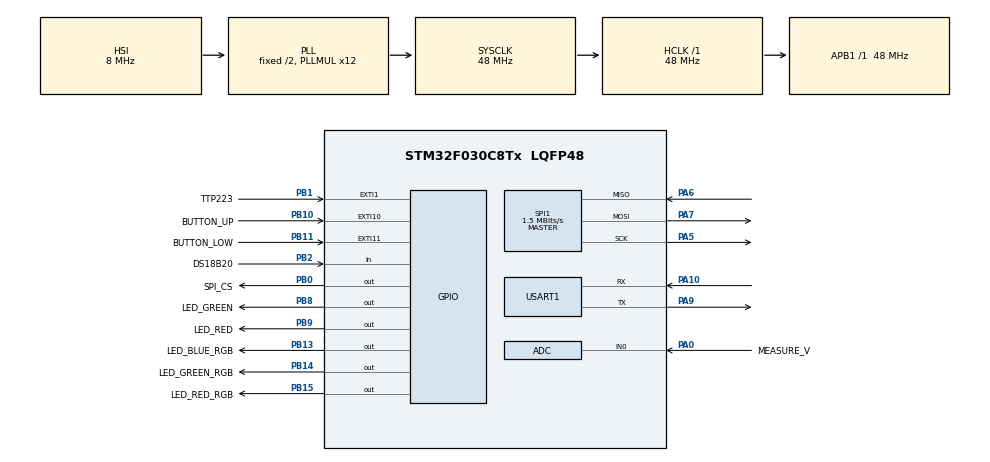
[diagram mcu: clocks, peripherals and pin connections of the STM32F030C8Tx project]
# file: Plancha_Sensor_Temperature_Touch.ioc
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ADC.ContinuousConvMode=DISABLE
Mcu.Family=STM32F0
Mcu.Name=STM32F030C8Tx
Mcu.Package=LQFP48
NVIC.EXTI0_1_IRQn=true\:0\:0\:false\:false\:true\:true\:true\:true
NVIC.EXTI4_15_IRQn=true\:0\:0\:false\:false\:true\:true\:true\:true
NVIC.TIM6_IRQn=true\:0\:0\:false\:false\:true\:true\:true\:true
NVIC.USART1_IRQn=true\:0\:0\:false\:false\:true\:true\:true\:true
PA0.GPIO_Label=MEASURE_V
PA0.Mode=IN0
PA0.Signal=ADC_IN0
PA10.Mode=Asynchronous
PA10.Signal=USART1_RX
PA5.Mode=Full_Duplex_Master
PA5.Signal=SPI1_SCK
PA6.Mode=Full_Duplex_Master
PA6.Signal=SPI1_MISO
PA7.Mode=Full_Duplex_Master
PA7.Signal=SPI1_MOSI
PA9.Mode=Asynchronous
PA9.Signal=USART1_TX
PB0.GPIO_Label=SPI_CS
PB0.GPIO_PuPd=GPIO_NOPULL
PB0.Signal=GPIO_Output
PB1.GPIO_Label=TTP223
PB1.Signal=GPXTI1
PB10.GPIO_Label=BUTTON_UP
PB10.Signal=GPXTI10
PB11.GPIO_Label=BUTTON_LOW
PB11.Signal=GPXTI11
PB13.GPIO_Label=LED_BLUE_RGB
PB13.Signal=GPIO_Output
PB14.GPIO_Label=LED_GREEN_RGB
PB14.Signal=GPIO_Output
PB15.GPIO_Label=LED_RED_RGB
PB15.Signal=GPIO_Output
PB2.GPIO_Label=DS18B20
PB2.Signal=GPIO_Input
PB8.GPIO_Label=LED_GREEN
PB8.Signal=GPIO_Output
PB9.GPIO_Label=LED_RED
PB9.Signal=GPIO_Output
ProjectManager.HeapSize=0x200
ProjectManager.StackSize=0x400
ProjectManager.TargetToolchain=STM32CubeIDE
RCC.AHBFreq_Value=48000000
RCC.APB1Freq_Value=48000000
RCC.APB1TimFreq_Value=48000000
RCC.HCLKFreq_Value=48000000
RCC.PLLMUL=RCC_PLL_MUL12
RCC.SYSCLKFreq_VALUE=48000000
RCC.SYSCLKSource=RCC_SYSCLKSOURCE_PLLCLK
SPI1.BaudRatePrescaler=SPI_BAUDRATEPRESCALER_32
SPI1.CalculateBaudRate=1.5 MBits/s
SPI1.DataSize=SPI_DATASIZE_8BIT
SPI1.Direction=SPI_DIRECTION_2LINES
SPI1.Mode=SPI_MODE_MASTER
SPI1.VirtualType=VM_MASTER
TIM6.AutoReloadPreload=TIM_AUTORELOAD_PRELOAD_ENABLE
TIM6.Period=65535-1
TIM6.Prescaler=48-1
USART1.VirtualMode-Asynchronous=VM_ASYNC
VP_TIM6_VS_ClockSourceINT.Mode=Enable_Timer
board=custom

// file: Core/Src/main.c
/* USER CODE BEGIN Header */
/**
  ******************************************************************************
  * @file           : main.c
  * @brief          : Main program body
  ******************************************************************************
  * @attention
  *
  * Copyright (c) 2022 STMicroelectronics.
  * All rights reserved.
  *
  * This software is licensed under terms that can be found in the LICENSE file
  * in the root directory of this software component.
  * If no LICENSE file comes with this software, it is provided AS-IS.
  *
  ******************************************************************************
  */
/* USER CODE END Header */
#include "main.h"

/* USER CODE BEGIN Includes */
#include <string.h>
#include <stdio.h>

/* USER CODE END Includes */

ADC_HandleTypeDef hadc;

SPI_HandleTypeDef hspi1;

TIM_HandleTypeDef htim6;

UART_HandleTypeDef huart1;

/* USER CODE BEGIN PV */

/****************************************************PROTOTIPADO VARIABLES*********************************************************/

/****************************************Prototipado de banderas de botones*****************************/
uint8_t ban_button_up;
uint8_t ban_button_low;
uint8_t ban_button_TS;

/***********************************Prototipado variables del temperature sensor*************************/
uint8_t Rx_data_lim[lenght_Rx];
uint8_t Presence;
uint8_t Temp_byte1;
uint8_t Temp_byte2;
float temp_dec;

/****************************************Prototipado variables del UART******************************/
uint8_t Rx_data[lenght_Rx];
uint8_t Rx_data_color[lenght_Rx];
uint8_t ban_recibido_msj;
uint8_t ban_mismo_msj;

uint8_t transmit_lenght;
uint8_t transmit_text[200];

uint32_t li_red;
uint32_t li_blue;
uint32_t li_green;
uint32_t ls_red;
uint32_t ls_blue;
uint32_t ls_green;

uint8_t pos_in;
uint8_t pos_fin;

/*********************Prototipado variables control encendido Leds touch******************************/
uint8_t lecture;
uint16_t cont_time_offline;

/*********************Prototipado variables del ADC**************************************************/
float vin;
uint16_t raw;
uint8_t Rx_data_ADC[lenght_Rx];

/*************************Prototipado variables del SPI FLASH***************************************/
uint8_t read_flash_Byte[255];
uint8_t things_to_write[255];
uint8_t size_to_send;
volatile uint8_t address_to_write[3];

/* USER CODE END PV */

void SystemClock_Config(void);
static void MX_GPIO_Init(void);
static void MX_USART1_UART_Init(void);
static void MX_TIM6_Init(void);
static void MX_ADC_Init(void);
static void MX_SPI1_Init(void);
/* USER CODE BEGIN PFP */

/*****************************************************PROTOTIPADO FUNCIONES*********************************************************/

/****************************************Prototipado de funciones del temperature sensor*****************************/
void delay (uint32_t us);
void Set_Pin_Input(GPIO_TypeDef *Port, uint32_t Pin);
static void Set_Pin_Output(GPIO_TypeDef *Port, uint32_t Pin);

uint8_t DS18B20_Start (void);
void DS18B20_Write (uint8_t data);
uint8_t DS18B20_Read (void);

float convert_temperature(uint8_t byte_1, uint8_t byte_2 );

/****************************************Prototipado de funciones del UART****************************************/
void HAL_UART_RxCpltCallback(UART_HandleTypeDef *huart);
static  int pow (int num, int exp);
static int Get_number(void);

static void Led_RGB_Limits_Temp (int temp_li_green ,int temp_li_blue, int temp_li_red, int temp_ls_green ,int temp_ls_blue, int temp_ls_red);

/*******************************Prototipado de funciones control encendido Leds touch************************/

//static void Time_LED_Control (int estado);

/****************************************Prototipado de SPI Flash****************************************/
void flash_csn( uint8_t val);
void Write_flash_enable();
void Flash_read_identification_id();
void Flash_read_page(uint8_t address_1, uint8_t address_2, uint8_t address_3, uint8_t aux_length);
void Flash_write_page(uint8_t address_1, uint8_t address_2, uint8_t address_3, uint8_t *value_to_write, uint8_t length);
void erase_all ();
uint8_t read_status_register();

/* USER CODE END PFP */

int main(void)
{

  /* MCU Configuration--------------------------------------------------------*/

  /* Reset of all peripherals, Initializes the Flash interface and the Systick. */
  HAL_Init();

  /* Configure the system clock */
  SystemClock_Config();

  /* Initialize all configured peripherals */
  MX_GPIO_Init();
  MX_USART1_UART_Init();
  MX_TIM6_Init();
  MX_ADC_Init();
  MX_SPI1_Init();
  /* USER CODE BEGIN 2 */

  /*******************************************************INICIALIZACIONES********************************************************/

  /****************************************Inicialización banderas de botones*****************************/

  ban_button_up = 0;
  ban_button_low = 0;
  ban_button_TS = 0;

  /****************************************Inicialización banderas de UART********************************/
  ban_recibido_msj = 0;
  ban_mismo_msj = 0;

  /******************************Inicialización control encendido Leds touch******************************/
  lecture = 0;
  cont_time_offline = 0;

  /************************************Inicialización variables del temperature sensor*******************/
  Presence = 0;
  Temp_byte1 = 0;
  Temp_byte2 = 0;

  temp_dec = 0;

  /****************************************Inicialización variables del UART****************************/
  pos_in = 0;
  pos_fin = 0;

  li_red = 0;
  li_blue = 0;
  li_green = 0;
  ls_red = 0;
  ls_blue = 0;
  ls_green = 0;

  /**************************************Inicialización variables del ADC******************************/
  vin = 0;
  raw = 0;

  /****************************************Inicialización del UART IT**********************************/
  HAL_UART_Receive_IT(&huart1, Rx_data, 13);

  /* USER CODE END 2 */

  /* Infinite loop */
  /* USER CODE BEGIN WHILE */
  while (1)
  {

//	  /****************************************Inicialización del la FLASH********************************/
//	  flash_csn(1);
//	  Flash_read_identification_id();
//
//	  Flash_read_page(0x00, 0x01, 0x02, 255);
//	  HAL_Delay(100);

//
//	  //Inicialización
//	  flash_csn(1); //Pone el CS en 1
//	  memset(&read_flash_Byte, 0x00,255); //Limpia el vector read_flash_Byte con 0s en all
//	  Flash_read_identification_id();
//
//
//	  //	  size_to_send = sprintf( &transmit_text, "value read: %d \r\n", read_flash_Byte[0] );
//	  //	  HAL_UART_Transmit(&huart1, &transmit_text, size_to_send, 1000);
//
//	  memset(&things_to_write, 0x00,255); //Pone all en 0 (limpia)
//	  address_to_write[0] = 0x00;
//	  address_to_write[2] = 0x02;
//	  Flash_read_page(0x00, 0x01, 0x02, 255);
//	  erase_all();
//	  HAL_Delay(100);
//
//
//	  memset(&things_to_write, 0x20,255);
//	  Flash_write_page( 0x00, 0x01, 0x02 , &things_to_write[0] , 255 );
//	  HAL_Delay(100);
//
//	  //Lee la página POS1	POS2   POS3 Size
//	  Flash_read_page(0x00, 0x01, 0x02, 255);
//	  erase_all();
//	  HAL_Delay(100);
//
//
//
//
//	  //	  size_to_send = sprintf( &things_to_write, "the temperature is: %d \r\n", 30 );
//
//
//
//
//	  memset(&things_to_write, 0x30,255);
//	  Flash_write_page(0x00, 0x01, 0x02 , &things_to_write[1] , size_to_send );
//	  HAL_Delay(100);
//	  //
//	 //Lee la página POS1	POS2   POS3 Size
//	  Flash_read_page(0x00, 0x01, 0x02, 255);
//	  HAL_Delay(1000);

/***************************************************PROGRAMACIÓN del ADC*************************************************************/
	  HAL_ADC_Start(&hadc);

	  HAL_ADC_PollForConversion(&hadc, 300);
	  raw = HAL_ADC_GetValue(&hadc);

	  vin = (raw * (MAX_VALUE_ADC_V/MAX_VALUE_ADC_BITS))+OFFSET;

	  /*****************************************Comando de impresión ADC*********************************/
	  if (ban_recibido_msj == 1){
		  strncpy (&Rx_data_ADC, &Rx_data, 10);

		  if (strcmp(&Rx_data_ADC,"#LECTURE_A") == 0){
			  transmit_lenght = sprintf(&transmit_text[0], "El voltaje de entrada es: %f \r\n", vin);
			  HAL_UART_Transmit(&huart1, transmit_text, transmit_lenght, 1000);
			  ban_recibido_msj = 0;

		  }
	  }

/****************************************PROGRAMACIÓN TEMPERATURE SENSOR**************************************************************/
	  Presence = DS18B20_Start ();
	  HAL_Delay (1);
	  DS18B20_Write (0xCC);  // skip ROM				//Inicialización
	  DS18B20_Write (0x44);  // convert t
	  HAL_Delay (800);

	  Presence = DS18B20_Start ();
	  HAL_Delay(1);
	  DS18B20_Write (0xCC);  // skip ROM				//Inicialización
	  DS18B20_Write (0xBE);  // Read Scratch-pad

	  Temp_byte1 = DS18B20_Read ();						//Lectura del sensor
	  Temp_byte2 = DS18B20_Read ();

	  temp_dec = convert_temperature(Temp_byte1, Temp_byte2); //Conversión de hexadecimal a decimal

	  /*****************************************Impresión temperatura*********************************/

	  transmit_lenght = sprintf(&transmit_text[0], "La temperatura es: %f \r\n", temp_dec);
	  HAL_UART_Transmit(&huart1, transmit_text, transmit_lenght, 1000);

	  /****************************************PROGRAMACIÓN UART**********************************************************************/

	  /*********************************Obtención de límites de temperatura***************************************/

	  if (ban_recibido_msj == 1){ //Mira si se recibe algún mensaje

		  strncpy (&Rx_data_color, &Rx_data, 8); //Recorta para comparar el comando

		  /*********************LI Y LS GREEN************************/

		  if (strcmp(&Rx_data_color,"#TEMPLIG") == 0){
			  li_green = Get_number();
			  ban_recibido_msj = 0;
		  }

		  if (strcmp(&Rx_data_color,"#TEMPLSG") == 0){
			  ls_green = Get_number();
			  ban_recibido_msj = 0;
		  }

		  /*********************LI Y LS BLUE************************/

		  if (strcmp(&Rx_data_color,"#TEMPLIB") == 0){
			  li_blue = Get_number();
			  ban_recibido_msj = 0;
		  }

		  if (strcmp(&Rx_data_color,"#TEMPLSB") == 0){
			  ls_blue = Get_number();
			  ban_recibido_msj = 0;
		  }

		  /*********************LI Y LS RED************************/

		  if (strcmp(&Rx_data_color,"#TEMPLIR") == 0){
			  li_red = Get_number();
			  ban_recibido_msj = 0;
		  }

		  if (strcmp(&Rx_data_color,"#TEMPLSR") == 0){
			  ls_red = Get_number();
			  ban_recibido_msj = 0;
		  }

	  }

	  /*********************Impresión por UART de límites************************/
	  if (ban_recibido_msj == 1){
		  strncpy (&Rx_data_ADC, &Rx_data, 10);

		  if (strcmp(&Rx_data_ADC,"#LECTURE_L") == 0){
			  transmit_lenght = sprintf(&transmit_text[0], "VERDE-> LI: %d LS: %d \r\n",li_green,ls_green);
			  HAL_UART_Transmit(&huart1, transmit_text, transmit_lenght, 1000);

			  transmit_lenght = sprintf(&transmit_text[0], "AZUL-> LI: %d LS: %d \r\n",li_blue,ls_blue);
			  HAL_UART_Transmit(&huart1, transmit_text, transmit_lenght, 1000);

			  transmit_lenght = sprintf(&transmit_text[0], "ROJO-> LI: %d LS: %d \r\n",li_red,ls_red);
			  HAL_UART_Transmit(&huart1, transmit_text, transmit_lenght, 1000);

			  ban_recibido_msj = 0;

		  }
	  }

	  /*********************************Control encendido LED RGB***************************************/
	  Led_RGB_Limits_Temp(li_green ,li_blue, li_red,ls_green ,ls_blue, ls_red );

	  /**************************************CONTROL ENCENDIDO LEDS TOUCH *******************************************************/
	  if (ban_button_up == 1){
		  cont_time_offline ++;
		  ban_button_up = 0;
	  }

	  if (ban_button_low == 1){
		  if (cont_time_offline > 0){
			  cont_time_offline --;
		  }

		  ban_button_low = 0;
	  }

	  /********************************Comando de impresión Tiempo de desconexion******************************/
	  if (ban_recibido_msj == 1){
		  strncpy (&Rx_data_ADC, &Rx_data, 10);

		  if (strcmp(&Rx_data_ADC,"#LECTURE_T") == 0){
		  	  transmit_lenght = sprintf(&transmit_text[0], "Tiempo de desconexion= %d \r\n",cont_time_offline);
		  	  HAL_UART_Transmit(&huart1, transmit_text, transmit_lenght, 1000);
			  ban_recibido_msj = 0;

		  }
	  }

	  lecture = HAL_GPIO_ReadPin(TTP223_GPIO_Port, TTP223_Pin);
	  if (lecture == 1){
		  LED_GREEN_ON;
		  LED_RED_OFF;
		  HAL_Delay(cont_time_offline *value_ms_to_s);
	  }
	  else{
		  LED_RED_ON;
		  LED_GREEN_OFF;
	  }

	  /***************************************************PROGRAMACIÓN FLASH *******************************************************/

	  /**********************************Guarda los valores en flash************************************************/
	  things_to_write [0] = temp_dec;
	  things_to_write [1] = li_green;
	  things_to_write [2] = li_blue;
	  things_to_write [3] = li_red;
	  things_to_write [4] = ls_green;
	  things_to_write [5] = ls_blue;
	  things_to_write [6] = ls_red;
	  things_to_write [7] = cont_time_offline;

	  //memset(&things_to_write, 0x30,255);

	  /**********************************Escribe valores en flash************************************************/
//	  Flash_write_page(0x00, 0x01, 0x02 , &things_to_write , size_to_send );
//	  HAL_Delay(100);

	  //Lee la página POS1	POS2   POS3 Size
//	  Flash_read_page(0x00, 0x01, 0x02, 255);

	  /****************************Enviamos por UART los valores de la flash**********************************/
//	  size_to_send = sprintf( &transmit_text, "La temperatura es: %d \r\n", read_flash_Byte[0] );
//	  HAL_UART_Transmit(&huart1, &transmit_text, size_to_send, 1000);
//
//	  size_to_send = sprintf( &transmit_text, "El limite inferior verde es: %d \r\n", read_flash_Byte[1] );
//	  HAL_UART_Transmit(&huart1, &transmit_text, size_to_send, 1000);
//
//	  size_to_send = sprintf( &transmit_text, "El limite inferior azul es: %d \r\n", read_flash_Byte[2] );
//	  HAL_UART_Transmit(&huart1, &transmit_text, size_to_send, 1000);
//
//	  size_to_send = sprintf( &transmit_text, "El limite inferior rojo es: %d \r\n", read_flash_Byte[3] );
//	  HAL_UART_Transmit(&huart1, &transmit_text, size_to_send, 1000);

//	  HAL_Delay(1000);

    /* USER CODE END WHILE */

  }
}

void SystemClock_Config(void)
{
  RCC_OscInitTypeDef RCC_OscInitStruct = {0};
  RCC_ClkInitTypeDef RCC_ClkInitStruct = {0};
  RCC_PeriphCLKInitTypeDef PeriphClkInit = {0};

  /** Initializes the RCC Oscillators according to the specified parameters
  * in the RCC_OscInitTypeDef structure.
  */
  RCC_OscInitStruct.OscillatorType = RCC_OSCILLATORTYPE_HSI|RCC_OSCILLATORTYPE_HSI14;
  RCC_OscInitStruct.HSIState = RCC_HSI_ON;
  RCC_OscInitStruct.HSI14State = RCC_HSI14_ON;
  RCC_OscInitStruct.HSICalibrationValue = RCC_HSICALIBRATION_DEFAULT;
  RCC_OscInitStruct.HSI14CalibrationValue = 16;
  RCC_OscInitStruct.PLL.PLLState = RCC_PLL_ON;
  RCC_OscInitStruct.PLL.PLLSource = RCC_PLLSOURCE_HSI;
  RCC_OscInitStruct.PLL.PLLMUL = RCC_PLL_MUL12;
  RCC_OscInitStruct.PLL.PREDIV = RCC_PREDIV_DIV1;
  if (HAL_RCC_OscConfig(&RCC_OscInitStruct) != HAL_OK)
  {
    Error_Handler();
  }

  /** Initializes the CPU, AHB and APB buses clocks
  */
  RCC_ClkInitStruct.ClockType = RCC_CLOCKTYPE_HCLK|RCC_CLOCKTYPE_SYSCLK
                              |RCC_CLOCKTYPE_PCLK1;
  RCC_ClkInitStruct.SYSCLKSource = RCC_SYSCLKSOURCE_PLLCLK;
  RCC_ClkInitStruct.AHBCLKDivider = RCC_SYSCLK_DIV1;
  RCC_ClkInitStruct.APB1CLKDivider = RCC_HCLK_DIV1;

  if (HAL_RCC_ClockConfig(&RCC_ClkInitStruct, FLASH_LATENCY_1) != HAL_OK)
  {
    Error_Handler();
  }
  PeriphClkInit.PeriphClockSelection = RCC_PERIPHCLK_USART1;
  PeriphClkInit.Usart1ClockSelection = RCC_USART1CLKSOURCE_PCLK1;
  if (HAL_RCCEx_PeriphCLKConfig(&PeriphClkInit) != HAL_OK)
  {
    Error_Handler();
  }
}

static void MX_ADC_Init(void)
{

  ADC_ChannelConfTypeDef sConfig = {0};

  /** Configure the global features of the ADC (Clock, Resolution, Data Alignment and number of conversion)
  */
  hadc.Instance = ADC1;
  hadc.Init.ClockPrescaler = ADC_CLOCK_ASYNC_DIV1;
  hadc.Init.Resolution = ADC_RESOLUTION_12B;
  hadc.Init.DataAlign = ADC_DATAALIGN_RIGHT;
  hadc.Init.ScanConvMode = ADC_SCAN_DIRECTION_FORWARD;
  hadc.Init.EOCSelection = ADC_EOC_SINGLE_CONV;
  hadc.Init.LowPowerAutoWait = DISABLE;
  hadc.Init.LowPowerAutoPowerOff = DISABLE;
  hadc.Init.ContinuousConvMode = DISABLE;
  hadc.Init.DiscontinuousConvMode = DISABLE;
  hadc.Init.ExternalTrigConv = ADC_SOFTWARE_START;
  hadc.Init.ExternalTrigConvEdge = ADC_EXTERNALTRIGCONVEDGE_NONE;
  hadc.Init.DMAContinuousRequests = DISABLE;
  hadc.Init.Overrun = ADC_OVR_DATA_PRESERVED;
  if (HAL_ADC_Init(&hadc) != HAL_OK)
  {
    Error_Handler();
  }

  /** Configure for the selected ADC regular channel to be converted.
  */
  sConfig.Channel = ADC_CHANNEL_0;
  sConfig.Rank = ADC_RANK_CHANNEL_NUMBER;
  sConfig.SamplingTime = ADC_SAMPLETIME_1CYCLE_5;
  if (HAL_ADC_ConfigChannel(&hadc, &sConfig) != HAL_OK)
  {
    Error_Handler();
  }

}

static void MX_SPI1_Init(void)
{

  /* SPI1 parameter configuration*/
  hspi1.Instance = SPI1;
  hspi1.Init.Mode = SPI_MODE_MASTER;
  hspi1.Init.Direction = SPI_DIRECTION_2LINES;
  hspi1.Init.DataSize = SPI_DATASIZE_8BIT;
  hspi1.Init.CLKPolarity = SPI_POLARITY_LOW;
  hspi1.Init.CLKPhase = SPI_PHASE_1EDGE;
  hspi1.Init.NSS = SPI_NSS_SOFT;
  hspi1.Init.BaudRatePrescaler = SPI_BAUDRATEPRESCALER_32;
  hspi1.Init.FirstBit = SPI_FIRSTBIT_MSB;
  hspi1.Init.TIMode = SPI_TIMODE_DISABLE;
  hspi1.Init.CRCCalculation = SPI_CRCCALCULATION_DISABLE;
  hspi1.Init.CRCPolynomial = 7;
  hspi1.Init.CRCLength = SPI_CRC_LENGTH_DATASIZE;
  hspi1.Init.NSSPMode = SPI_NSS_PULSE_ENABLE;
  if (HAL_SPI_Init(&hspi1) != HAL_OK)
  {
    Error_Handler();
  }

}

static void MX_TIM6_Init(void)
{

  htim6.Instance = TIM6;
  htim6.Init.Prescaler = 48-1;
  htim6.Init.CounterMode = TIM_COUNTERMODE_UP;
  htim6.Init.Period = 65535-1;
  htim6.Init.AutoReloadPreload = TIM_AUTORELOAD_PRELOAD_ENABLE;
  if (HAL_TIM_Base_Init(&htim6) != HAL_OK)
  {
    Error_Handler();
  }
  /* USER CODE BEGIN TIM6_Init 2 */
  if (HAL_TIM_Base_Start(&htim6) != HAL_OK)
   	{
   		Error_Handler();
   	}

  /* USER CODE END TIM6_Init 2 */

}

static void MX_USART1_UART_Init(void)
{

  huart1.Instance = USART1;
  huart1.Init.BaudRate = 38400;
  huart1.Init.WordLength = UART_WORDLENGTH_8B;
  huart1.Init.StopBits = UART_STOPBITS_1;
  huart1.Init.Parity = UART_PARITY_NONE;
  huart1.Init.Mode = UART_MODE_TX_RX;
  huart1.Init.HwFlowCtl = UART_HWCONTROL_NONE;
  huart1.Init.OverSampling = UART_OVERSAMPLING_16;
  huart1.Init.OneBitSampling = UART_ONE_BIT_SAMPLE_DISABLE;
  huart1.AdvancedInit.AdvFeatureInit = UART_ADVFEATURE_NO_INIT;
  if (HAL_UART_Init(&huart1) != HAL_OK)
  {
    Error_Handler();
  }

}

static void MX_GPIO_Init(void)
{
  GPIO_InitTypeDef GPIO_InitStruct = {0};

  /* GPIO Ports Clock Enable */
  __HAL_RCC_GPIOA_CLK_ENABLE();
  __HAL_RCC_GPIOB_CLK_ENABLE();

  /*Configure GPIO pin Output Level */
  HAL_GPIO_WritePin(GPIOB, SPI_CS_Pin|LED_BLUE_RGB_Pin|LED_GREEN_RGB_Pin|LED_RED_RGB_Pin
                          |LED_GREEN_Pin|LED_RED_Pin, GPIO_PIN_RESET);

  /*Configure GPIO pins : SPI_CS_Pin LED_BLUE_RGB_Pin LED_GREEN_RGB_Pin LED_RED_RGB_Pin
                           LED_GREEN_Pin LED_RED_Pin */
  GPIO_InitStruct.Pin = SPI_CS_Pin|LED_BLUE_RGB_Pin|LED_GREEN_RGB_Pin|LED_RED_RGB_Pin
                          |LED_GREEN_Pin|LED_RED_Pin;
  GPIO_InitStruct.Mode = GPIO_MODE_OUTPUT_PP;
  GPIO_InitStruct.Pull = GPIO_NOPULL;
  GPIO_InitStruct.Speed = GPIO_SPEED_FREQ_LOW;
  HAL_GPIO_Init(GPIOB, &GPIO_InitStruct);

  /*Configure GPIO pins : TTP223_Pin BUTTON_UP_Pin BUTTON_LOW_Pin */
  GPIO_InitStruct.Pin = TTP223_Pin|BUTTON_UP_Pin|BUTTON_LOW_Pin;
  GPIO_InitStruct.Mode = GPIO_MODE_IT_RISING;
  GPIO_InitStruct.Pull = GPIO_NOPULL;
  HAL_GPIO_Init(GPIOB, &GPIO_InitStruct);

  /*Configure GPIO pin : DS18B20_Pin */
  GPIO_InitStruct.Pin = DS18B20_Pin;
  GPIO_InitStruct.Mode = GPIO_MODE_INPUT;
  GPIO_InitStruct.Pull = GPIO_NOPULL;
  HAL_GPIO_Init(DS18B20_GPIO_Port, &GPIO_InitStruct);

  /* EXTI interrupt init*/
  HAL_NVIC_SetPriority(EXTI0_1_IRQn, 0, 0);
  HAL_NVIC_EnableIRQ(EXTI0_1_IRQn);

  HAL_NVIC_SetPriority(EXTI4_15_IRQn, 0, 0);
  HAL_NVIC_EnableIRQ(EXTI4_15_IRQn);

}

/* USER CODE BEGIN 4 */

/****************************************FUNCIONES DE CALLBACKS BOTONES***************************************************++*******/

/****************************************Función de Callback botón UP ,LOW Y TOUCH SENSOR*****************************/
void HAL_GPIO_EXTI_Callback(uint16_t GPIO_Pin){
	if (GPIO_Pin == PIN_BUTTON_UP_IT){ // 1024
		ban_button_up = 1;
	}

	if (GPIO_Pin == PIN_BUTTON_LOW_IT){ //2048
		ban_button_low = 1;
	}

	if (GPIO_Pin == GPIO_PIN_1)
	{
		ban_button_TS = 1;
	}

}

/****************************************FUNCIONES DEL UART***************************************************++*******/

/****************************************Función Callback de UART*****************************/
void HAL_UART_RxCpltCallback(UART_HandleTypeDef *huart){
	HAL_UART_Receive_IT(&huart1, Rx_data, 13);
	ban_recibido_msj = 1;
	ban_mismo_msj = 0;
}

/****************************************Función para obtener el número del UART***************/
static int Get_number(void){
	uint32_t result;

	for (int i = 0; i<lenght_Rx + 1; i++){
		if (Rx_data[i] == '$'){
			pos_in = i;
			for (int j = i+1; j<lenght_Rx+1; j++){
				if (Rx_data[j] == '$'){
					pos_fin = j;
					break;
				}
			}
			break;
		}
	}

	result = 0;
	for (int z = pos_in+1; z<=pos_fin-1; z++ ){
		result += pow(Rx_data[z]-48, pos_fin-1-z);
	}

	return result;

}

/****************************************Función para potencia*******************************/
static  int pow (int num, int exp ){

	int result = 1;

	if (exp == 0){
		return num;
	}
	else{
		for (int i = 0; i<exp; i++){
			result = result * num;
		}
		return 10*result;
	}
}

/*************************************Función para Control encendido LED RGB*******************************/
static void Led_RGB_Limits_Temp (int temp_li_green ,int temp_li_blue, int temp_li_red, int temp_ls_green ,int temp_ls_blue, int temp_ls_red){

	LED_RED_RGB_OFF;
	LED_BLUE_RGB_OFF;
	LED_GREEN_RGB_OFF;

	if ((temp_dec>temp_li_green) && (temp_dec <= temp_ls_green)){
		LED_GREEN_RGB_ON;
	}

	if ((temp_dec>temp_li_blue) && (temp_dec <= temp_ls_blue)){
		LED_BLUE_RGB_ON;
	}

	if ((temp_dec>temp_li_red) && (temp_dec <= temp_ls_red)){
		LED_RED_RGB_ON;
	}
}

/****************************************FUNCIONES DEL TEMPERATURE SENSOR**********************************************************/

/****************************************Función de delay del temperature sensor******************************/
void delay (uint32_t us)
{
	__HAL_TIM_SET_COUNTER(&htim6,0);  // set the counter value a 0
		while (__HAL_TIM_GET_COUNTER(&htim6) < us);  // wait for the counter to reach the us input in the parameter
}

/*************************************Función de establecer pin como entrada del temperature sensor*********/
void Set_Pin_Input(GPIO_TypeDef *Port, uint32_t Pin){
	  GPIO_InitTypeDef GPIO_InitStruct = {0};

	 /*Configure GPIO pin : DS18B20_Pin */
	  GPIO_InitStruct.Pin = Pin;
	  GPIO_InitStruct.Mode = GPIO_MODE_INPUT;
	  GPIO_InitStruct.Pull = GPIO_NOPULL;
	  HAL_GPIO_Init(Port, &GPIO_InitStruct);
}

/****************************************Función de establecer pin como salida del temperature sensor********/
void Set_Pin_Output(GPIO_TypeDef *Port, uint32_t Pin){
	  GPIO_InitTypeDef GPIO_InitStruct = {0};

	 /*Configure GPIO pin : DS18B20_Pin */
	  GPIO_InitStruct.Pin = Pin;
	  GPIO_InitStruct.Mode = GPIO_MODE_OUTPUT_OD;
	  GPIO_InitStruct.Pull = GPIO_NOPULL;
	  HAL_GPIO_Init(Port, &GPIO_InitStruct);
}

/****************************************Función de inicialización del temperature sensor******************/
uint8_t DS18B20_Start (void)
{
	uint8_t Response = 0;

	Set_Pin_Output(DS18B20_GPIO_Port, DS18B20_Pin);   // set the pin as output
	HAL_GPIO_WritePin (DS18B20_GPIO_Port, DS18B20_Pin, 0);  // pull the pin low
	delay (480);   // delay according to datasheet (480)

	Set_Pin_Input(DS18B20_GPIO_Port, DS18B20_Pin);    // set the pin as input
	delay (80);    // delay according to datasheet (80)

	if (!(HAL_GPIO_ReadPin (DS18B20_GPIO_Port, DS18B20_Pin))) Response = 1;    // if the pin is low i.e the presence pulse is detected
	else Response = -1;

	delay (480); // 480 us delay totally. (400)

	return Response;
}

/****************************************Función para escribir un byte en el temperature sensor**************/
void DS18B20_Write (uint8_t data)
{
	Set_Pin_Output(DS18B20_GPIO_Port, DS18B20_Pin);  // set as output

	for (int i=0; i<8; i++)
	{

		if ((data & (1<<i))!=0)  // if the bit is high
		{
			// write 1

			Set_Pin_Output(DS18B20_GPIO_Port, DS18B20_Pin);  // set as output
			HAL_GPIO_WritePin (DS18B20_GPIO_Port, DS18B20_Pin, 0);  // pull the pin LOW
			delay (1);  // wait for 1 us (1)

			Set_Pin_Input(DS18B20_GPIO_Port, DS18B20_Pin);  // set as input
			delay (50);  // wait for 60 us (50)
		}

		else  // if the bit is low
		{
			// write 0

			Set_Pin_Output(DS18B20_GPIO_Port, DS18B20_Pin);
			HAL_GPIO_WritePin (DS18B20_GPIO_Port, DS18B20_Pin, 0);  // pull the pin LOW
			delay (50);  // wait for 60 us (50)

			Set_Pin_Input(DS18B20_GPIO_Port, DS18B20_Pin);
		}
	}
}

/****************************************Función para leer bits del temperature sensor**************************/
uint8_t DS18B20_Read (void)
{
	uint8_t value=0;

	Set_Pin_Input(DS18B20_GPIO_Port, DS18B20_Pin);

	for (int i=0;i<8;i++)
	{

		Set_Pin_Output(DS18B20_GPIO_Port, DS18B20_Pin);   // set as output

		HAL_GPIO_WritePin (GPIOB, GPIO_PIN_2, 0);  // pull the data pin LOW
		delay (2);  // wait for 2 us (2)

		Set_Pin_Input(DS18B20_GPIO_Port, DS18B20_Pin);  // set as input
		//delay(17);
		if (HAL_GPIO_ReadPin (GPIOB, GPIO_PIN_2))  // if the pin is HIGH
		{
			value |= 1<<i;  // read = 1
		}
		delay (60);  // wait for 60 us (60)
	}
	return value;
}

/****************************************Función para convertir los bytes del temperature sensor********************/
float convert_temperature(uint8_t byte_1, uint8_t byte_2 ){
	uint16_t tempval = byte_2 << 8 | byte_1;
	float result_temp = (125.0 / 2048)*tempval;

	return  result_temp;

}

/****************************************FUNCIONES DEL TOUCH SENSOR LEDS**************************************************************/

/*************************************************FUNCIONES DEL SPI FLASH************************************************************/

/**********************************Función para poner el CS en LOW o HIGH********************/
void flash_csn( uint8_t val){
	if ( val == 0 )
		HAL_GPIO_WritePin(SPI_CS_GPIO_Port, SPI_CS_Pin, GPIO_PIN_RESET);
	else
		HAL_GPIO_WritePin(SPI_CS_GPIO_Port, SPI_CS_Pin, GPIO_PIN_SET);

}

/*********************************Función para Write Enable en la FLASH********************/
void Write_flash_enable(){
	uint8_t spiBuf = WREN;
	//Put CSN low
	flash_csn(0);
	//Transmit register address
	HAL_SPI_Transmit(&hspi1, &spiBuf, 1, 1000);
	flash_csn(1);
}

/*********************************Función para inicializr ID único en la FLASH********************/
void Flash_read_identification_id()
{
	uint8_t spiBuf[5];
	//Put CSN low
	spiBuf[0] = READ_ID;
	spiBuf[1] = 0;
	spiBuf[2] = 0;
	spiBuf[3] = 0;
	spiBuf[4] = 0;
	flash_csn(0);
	//Transmit register address

	HAL_SPI_Transmit(&hspi1, &spiBuf, 5, 1000);
	//Receive data
	HAL_SPI_Receive(&hspi1, &read_flash_Byte, 16, 1000);
	//Bring CSN high
	flash_csn(1);
}

/*********************************Función para escrbir en una página en la FLASH********************/
void Flash_write_page(uint8_t address_1, uint8_t address_2, uint8_t address_3, uint8_t *value_to_write, uint8_t length)
{
	Write_flash_enable();
	uint8_t spiBuf[length + 4];
	spiBuf[0] = PAGE_PROGRAM;
	// concatenate all the data to be sent
	sprintf( &spiBuf[1], "%c%c%c", address_1, address_2, address_3 );
	strncpy( &spiBuf[4], value_to_write, length );
	//Put CSN low
	flash_csn(0);
	//Transmit register address and data
	HAL_SPI_Transmit(&hspi1, &spiBuf, length+4 , 100);
	//Bring CSN high
	flash_csn(1);
}

/*********************************Función para leer una página en la FLASH***********************/
void Flash_read_page(uint8_t address_1, uint8_t address_2, uint8_t address_3, uint8_t aux_length)
{
	uint8_t spiBuf[4];
	//Put CSN low
	flash_csn(0);
	// concatenate all the data to be sent
	spiBuf[0] = READ_PAGE;
	sprintf( &spiBuf[1], "%c%c%c", address_1, address_2, address_3 );
	//Transmit register address
	HAL_SPI_Transmit(&hspi1, &spiBuf, 4, 1000);
	//Receive data
	HAL_SPI_Receive(&hspi1, &read_flash_Byte[0], aux_length, 1000);
	//Bring CSN high
	flash_csn(1);
}

/*********************************Función para borrar all en la FLASH***********************/
void erase_all (){
	// Activate WREN
	Write_flash_enable();
	uint8_t spiBuf[4];

	//Transmit register address
	spiBuf[0] = ERASE_ALL_COMAND;
	//sprintf( &spiBuf[1], "%c%c%c", address_1, address_2, address_3 );
	//Put CSN low
	flash_csn(0);
	HAL_SPI_Transmit(&hspi1, &spiBuf[0], 1, 1000);
	flash_csn(1);
}

/*********************************Función para ? en la FLASH*****************************/
uint8_t read_status_register(){
	uint8_t spiBuf[5];
	uint8_t retData;
	//Put CSN low
	flash_csn(0);
	//Transmit register address
	spiBuf[0] = READ_STATUS_REG;
	HAL_SPI_Transmit(&hspi1, &spiBuf[0], 1, 1000);
	//Receive data
	HAL_SPI_Receive(&hspi1, &retData, 1, 1000);
	//Bring CSN high
	flash_csn(1);
	return retData;
}

/* USER CODE END 4 */

void Error_Handler(void)
{
  __disable_irq();
  while (1)
  {
  }
}
